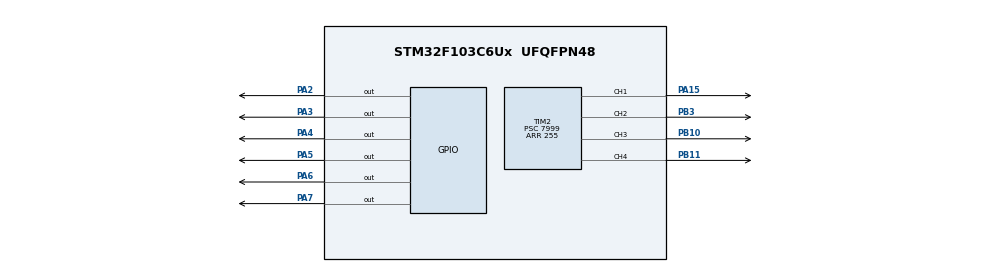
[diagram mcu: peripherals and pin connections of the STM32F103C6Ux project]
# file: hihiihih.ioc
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Mcu.Family=STM32F1
Mcu.Name=STM32F103C6Ux
Mcu.Package=UFQFPN48
NVIC.PriorityGroup=NVIC_PRIORITYGROUP_4
PA15.Signal=S_TIM2_CH1_ETR
PA2.Signal=GPIO_Output
PA3.Signal=GPIO_Output
PA4.Signal=GPIO_Output
PA5.Signal=GPIO_Output
PA6.Signal=GPIO_Output
PA7.Signal=GPIO_Output
PB10.Signal=S_TIM2_CH3
PB11.Signal=S_TIM2_CH4
PB3.Signal=S_TIM2_CH2
ProjectManager.HeapSize=0x200
ProjectManager.StackSize=0x400
ProjectManager.TargetToolchain=STM32CubeIDE
RCC.APB1Freq_Value=8000000
RCC.APB2Freq_Value=8000000
SH.S_TIM2_CH1_ETR.0=TIM2_CH1,PWM Generation1 CH1
SH.S_TIM2_CH2.0=TIM2_CH2,PWM Generation2 CH2
SH.S_TIM2_CH3.0=TIM2_CH3,PWM Generation3 CH3
SH.S_TIM2_CH4.0=TIM2_CH4,PWM Generation4 CH4
TIM2.Channel-PWM\ Generation1\ CH1=TIM_CHANNEL_1
TIM2.Channel-PWM\ Generation2\ CH2=TIM_CHANNEL_2
TIM2.Channel-PWM\ Generation3\ CH3=TIM_CHANNEL_3
TIM2.Channel-PWM\ Generation4\ CH4=TIM_CHANNEL_4
TIM2.Period=255
TIM2.Prescaler=7999
VP_SYS_VS_ND.Mode=No_Debug
VP_TIM2_VS_ClockSourceINT.Mode=Internal
board=custom

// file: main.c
/* USER CODE BEGIN Header */
/**
  ******************************************************************************
  * @file           : main.c
  * @brief          : Main program body
  ******************************************************************************
  * @attention
  *
  * <h2><center>&copy; Copyright (c) 2024 STMicroelectronics.
  * All rights reserved.</center></h2>
  *
  * This software component is licensed by ST under BSD 3-Clause license,
  * the "License"; You may not use this file except in compliance with the
  * License. You may obtain a copy of the License at:
  *                        opensource.org/licenses/BSD-3-Clause
  *
  ******************************************************************************
  */
/* USER CODE END Header */
#include "main.h"

/* USER CODE BEGIN Includes */
#include "../../ECUAL/LCD16X2/LCD16X2.h"
/* USER CODE END Includes */

TIM_HandleTypeDef htim2;

void SystemClock_Config(void);
static void MX_GPIO_Init(void);
static void MX_TIM2_Init(void);

int main(void)
{

  /* MCU Configuration--------------------------------------------------------*/

  /* Reset of all peripherals, Initializes the Flash interface and the Systick. */
  HAL_Init();

  /* Configure the system clock */
  SystemClock_Config();

  /* Initialize all configured peripherals */
  MX_GPIO_Init();
  MX_TIM2_Init();
  /* USER CODE BEGIN 2 */
  HAL_TIM_PWM_Start (&htim2, TIM_CHANNEL_4);
    HAL_TIM_PWM_Start (&htim2, TIM_CHANNEL_2);
    HAL_TIM_PWM_Start (&htim2, TIM_CHANNEL_3);
  /* USER CODE END 2 */

  /* Infinite loop */
  /* USER CODE BEGIN WHILE */
    void set_rgb (uint8_t red, uint8_t green, uint8_t blue)
    {
     htim2.Instance->CCR4 = red;
     htim2.Instance->CCR2 = green;
     htim2.Instance->CCR3 = blue;
    }
    	int phase = 0;
    	int colorValue = 255;

    	void colorTransition(void) {
    	    switch (phase) {
    	        case 0: // Blue to Cyan
    	            set_rgb(0, 255 - colorValue, colorValue);
    	            colorValue--;
    	            if (colorValue < 0) {
    	                colorValue = 0;
    	                phase++;
    	            }
    	            break;

    	        case 1: // Cyan to Green
    	            set_rgb(0, colorValue, 0);
    	            colorValue++;
    	            if (colorValue > 255) {
    	                colorValue = 255;
    	                phase++;
    	            }
    	            break;

    	        case 2: // Green to Yellow
    	            set_rgb(255 - colorValue, 255, 0);
    	            colorValue++;
    	            if (colorValue > 255) {
    	                colorValue = 255;
    	                phase++;
    	            }
    	            break;

    	        case 3: // Yellow to Red
    	            set_rgb(255, colorValue, 0);
    	            colorValue--;
    	            if (colorValue < 0) {
    	                colorValue = 0;
    	                phase = 0;  // Restart the transition
    	            }
    	            break;
    	    }
    	}

    	//void LCD16X2_Init(uint8_t LCD16X2_Index)
		#define MyLCD LCD16X2_1
    	LCD16X2_Init(MyLCD);
    	    LCD16X2_Clear(MyLCD);
    	    LCD16X2_Set_Cursor(MyLCD, 1, 1);
    	    LCD16X2_Write_String(MyLCD, "  DeepBlue");
    	    LCD16X2_Set_Cursor(MyLCD, 2, 1);
    	    LCD16X2_Write_String(MyLCD, "STM32 Course");
  while (1)
  {
    /* USER CODE END WHILE */
	  	  LCD16X2_SR(MyLCD);  HAL_Delay(1500);
	  	          LCD16X2_SR(MyLCD);  HAL_Delay(1500);
	  	          LCD16X2_SR(MyLCD);  HAL_Delay(1500);
	  	          LCD16X2_SR(MyLCD);  HAL_Delay(1500);

	  	          LCD16X2_SL(MyLCD);  HAL_Delay(1500);
	  	          LCD16X2_SL(MyLCD);  HAL_Delay(1500);
	  	          LCD16X2_SL(MyLCD);  HAL_Delay(1500);
	  	          LCD16X2_SL(MyLCD);  HAL_Delay(1500);

//	  	  colorTransition();
//	  	  HAL_Delay(100);
  }
}

void SystemClock_Config(void)
{
  RCC_OscInitTypeDef RCC_OscInitStruct = {0};
  RCC_ClkInitTypeDef RCC_ClkInitStruct = {0};

  /** Initializes the RCC Oscillators according to the specified parameters
  * in the RCC_OscInitTypeDef structure.
  */
  RCC_OscInitStruct.OscillatorType = RCC_OSCILLATORTYPE_HSI;
  RCC_OscInitStruct.HSIState = RCC_HSI_ON;
  RCC_OscInitStruct.HSICalibrationValue = RCC_HSICALIBRATION_DEFAULT;
  RCC_OscInitStruct.PLL.PLLState = RCC_PLL_NONE;
  if (HAL_RCC_OscConfig(&RCC_OscInitStruct) != HAL_OK)
  {
    Error_Handler();
  }
  /** Initializes the CPU, AHB and APB buses clocks
  */
  RCC_ClkInitStruct.ClockType = RCC_CLOCKTYPE_HCLK|RCC_CLOCKTYPE_SYSCLK
                              |RCC_CLOCKTYPE_PCLK1|RCC_CLOCKTYPE_PCLK2;
  RCC_ClkInitStruct.SYSCLKSource = RCC_SYSCLKSOURCE_HSI;
  RCC_ClkInitStruct.AHBCLKDivider = RCC_SYSCLK_DIV1;
  RCC_ClkInitStruct.APB1CLKDivider = RCC_HCLK_DIV1;
  RCC_ClkInitStruct.APB2CLKDivider = RCC_HCLK_DIV1;

  if (HAL_RCC_ClockConfig(&RCC_ClkInitStruct, FLASH_LATENCY_0) != HAL_OK)
  {
    Error_Handler();
  }
}

static void MX_TIM2_Init(void)
{

  TIM_ClockConfigTypeDef sClockSourceConfig = {0};
  TIM_MasterConfigTypeDef sMasterConfig = {0};
  TIM_OC_InitTypeDef sConfigOC = {0};

  htim2.Instance = TIM2;
  htim2.Init.Prescaler = 7999;
  htim2.Init.CounterMode = TIM_COUNTERMODE_UP;
  htim2.Init.Period = 255;
  htim2.Init.ClockDivision = TIM_CLOCKDIVISION_DIV1;
  htim2.Init.AutoReloadPreload = TIM_AUTORELOAD_PRELOAD_DISABLE;
  if (HAL_TIM_Base_Init(&htim2) != HAL_OK)
  {
    Error_Handler();
  }
  sClockSourceConfig.ClockSource = TIM_CLOCKSOURCE_INTERNAL;
  if (HAL_TIM_ConfigClockSource(&htim2, &sClockSourceConfig) != HAL_OK)
  {
    Error_Handler();
  }
  if (HAL_TIM_PWM_Init(&htim2) != HAL_OK)
  {
    Error_Handler();
  }
  sMasterConfig.MasterOutputTrigger = TIM_TRGO_RESET;
  sMasterConfig.MasterSlaveMode = TIM_MASTERSLAVEMODE_DISABLE;
  if (HAL_TIMEx_MasterConfigSynchronization(&htim2, &sMasterConfig) != HAL_OK)
  {
    Error_Handler();
  }
  sConfigOC.OCMode = TIM_OCMODE_PWM1;
  sConfigOC.Pulse = 0;
  sConfigOC.OCPolarity = TIM_OCPOLARITY_HIGH;
  sConfigOC.OCFastMode = TIM_OCFAST_DISABLE;
  if (HAL_TIM_PWM_ConfigChannel(&htim2, &sConfigOC, TIM_CHANNEL_1) != HAL_OK)
  {
    Error_Handler();
  }
  if (HAL_TIM_PWM_ConfigChannel(&htim2, &sConfigOC, TIM_CHANNEL_2) != HAL_OK)
  {
    Error_Handler();
  }
  if (HAL_TIM_PWM_ConfigChannel(&htim2, &sConfigOC, TIM_CHANNEL_3) != HAL_OK)
  {
    Error_Handler();
  }
  if (HAL_TIM_PWM_ConfigChannel(&htim2, &sConfigOC, TIM_CHANNEL_4) != HAL_OK)
  {
    Error_Handler();
  }
  HAL_TIM_MspPostInit(&htim2);

}

static void MX_GPIO_Init(void)
{
  GPIO_InitTypeDef GPIO_InitStruct = {0};

  /* GPIO Ports Clock Enable */
  __HAL_RCC_GPIOA_CLK_ENABLE();
  __HAL_RCC_GPIOB_CLK_ENABLE();

  /*Configure GPIO pin Output Level */
  HAL_GPIO_WritePin(GPIOA, GPIO_PIN_2|GPIO_PIN_3|GPIO_PIN_4|GPIO_PIN_5
                          |GPIO_PIN_6|GPIO_PIN_7, GPIO_PIN_RESET);

  /*Configure GPIO pins : PA2 PA3 PA4 PA5
                           PA6 PA7 */
  GPIO_InitStruct.Pin = GPIO_PIN_2|GPIO_PIN_3|GPIO_PIN_4|GPIO_PIN_5
                          |GPIO_PIN_6|GPIO_PIN_7;
  GPIO_InitStruct.Mode = GPIO_MODE_OUTPUT_PP;
  GPIO_InitStruct.Pull = GPIO_NOPULL;
  GPIO_InitStruct.Speed = GPIO_SPEED_FREQ_LOW;
  HAL_GPIO_Init(GPIOA, &GPIO_InitStruct);

}

void Error_Handler(void)
{
  __disable_irq();
  while (1)
  {
  }
}

/************************ (C) COPYRIGHT STMicroelectronics *****END OF FILE****/
